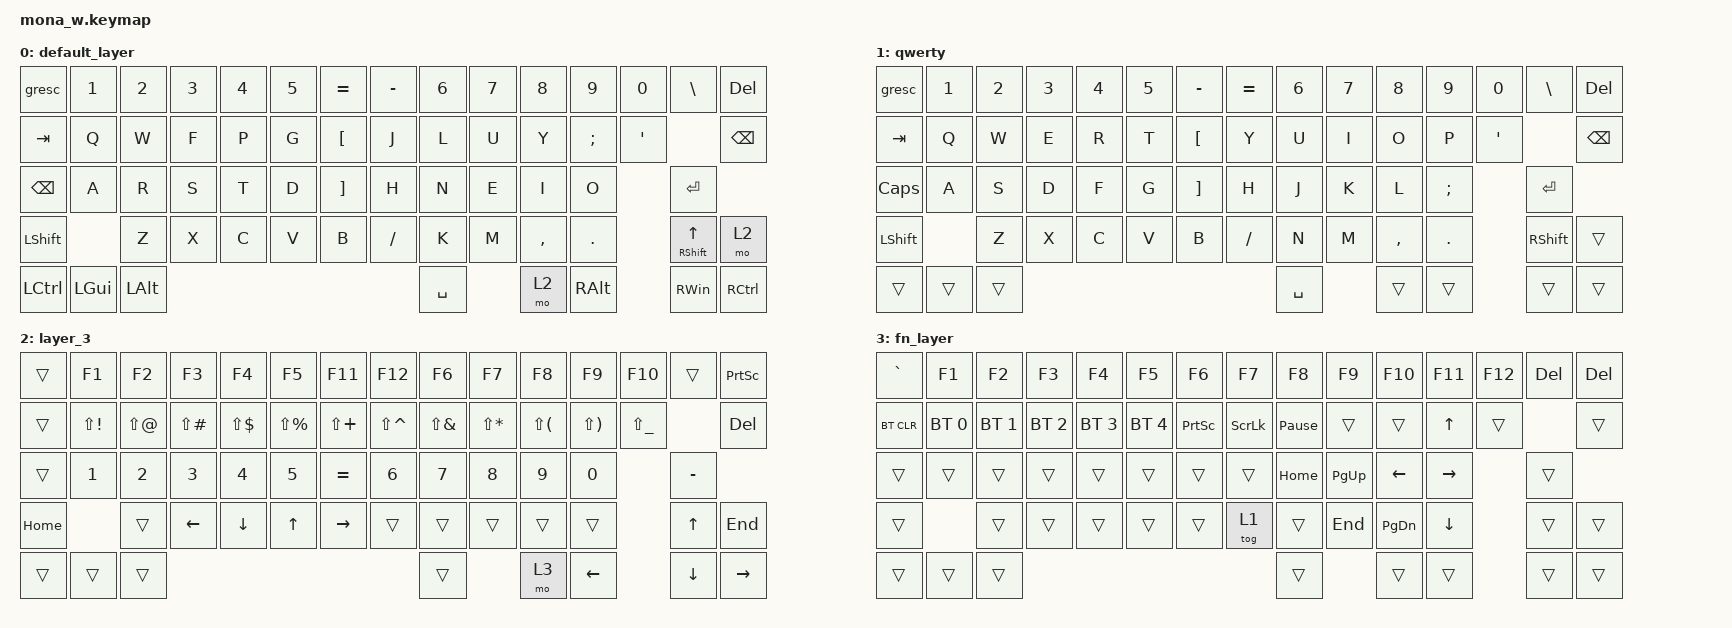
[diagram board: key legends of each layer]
/*
 * Copyright (c) 2023 Ramon Imbao
 *
 * SPDX-License-Identifier: MIT
 */

#include <behaviors.dtsi>
#include <dt-bindings/zmk/bt.h>
#include <dt-bindings/zmk/keys.h>

&gresc { mods = <(MOD_LGUI|MOD_RGUI|MOD_LSFT)>; };

/ {
    keymap {
        compatible = "zmk,keymap";

        default_layer {
            bindings = <
&gresc         &kp N1    &kp N2    &kp N3  &kp N4  &kp N5  &kp EQUAL          &kp MINUS  &kp NUMBER_6  &kp N7  &kp N8     &kp N9         &kp N0   &kp BACKSLASH       &kp DELETE
&kp TAB        &kp Q     &kp W     &kp F   &kp P   &kp G   &kp LEFT_BRACKET   &kp J      &kp L         &kp U   &kp Y      &kp SEMICOLON  &kp SQT                      &kp BACKSPACE
&kp BACKSPACE  &kp A     &kp R     &kp S   &kp T   &kp D   &kp RIGHT_BRACKET  &kp H      &kp N         &kp E   &kp I      &kp O                   &kp ENTER
&kp LSHFT                &kp Z     &kp X   &kp C   &kp V   &kp B              &kp SLASH  &kp K         &kp M   &kp COMMA  &kp PERIOD              &mt RSHFT UP_ARROW  &mo 2
&kp LCTRL      &kp LGUI  &kp LALT                                                        &kp SPACE             &mo 2      &kp RALT                &kp RIGHT_WIN       &kp RCTRL
            >;
        };

        qwerty {
            bindings = <
&gresc     &kp N1  &kp N2  &kp N3  &kp N4  &kp N5  &kp MINUS  &kp EQUAL  &kp N6     &kp N7  &kp N8     &kp N9    &kp N0   &kp BSLH   &kp DELETE
&kp TAB    &kp Q   &kp W   &kp E   &kp R   &kp T   &kp LBKT   &kp Y      &kp U      &kp I   &kp O      &kp P     &kp SQT             &kp BSPC
&kp CAPS   &kp A   &kp S   &kp D   &kp F   &kp G   &kp RBKT   &kp H      &kp J      &kp K   &kp L      &kp SEMI           &kp RET
&kp LSHFT          &kp Z   &kp X   &kp C   &kp V   &kp B      &kp FSLH   &kp N      &kp M   &kp COMMA  &kp DOT            &kp RSHFT  &trans
&trans     &trans  &trans                                                &kp SPACE          &trans     &trans             &trans     &trans
            >;
        };

        layer_3 {
            bindings = <
&trans    &kp F1        &kp F2      &kp F3         &kp F4        &kp F5         &kp F11       &kp F12        &kp F6        &kp F7        &kp F8        &kp F9        &kp F10        &trans     &kp PRINTSCREEN
&trans    &kp LS(EXCL)  &kp LS(AT)  &kp LS(POUND)  &kp LS(DLLR)  &kp LS(PRCNT)  &kp LS(PLUS)  &kp LS(CARET)  &kp LS(AMPS)  &kp LS(STAR)  &kp LS(LPAR)  &kp LS(RPAR)  &kp LS(UNDER)             &kp DEL
&trans    &kp N1        &kp N2      &kp N3         &kp N4        &kp N5         &kp EQUAL     &kp N6         &kp N7        &kp N8        &kp N9        &kp N0                       &kp MINUS
&kp HOME                &trans      &kp LEFT       &kp DOWN      &kp UP         &kp RIGHT     &trans         &trans        &trans        &trans        &trans                       &kp UP     &kp END
&trans    &trans        &trans                                                                               &trans                      &mo 3         &kp LEFT                     &kp DOWN   &kp RIGHT
            >;
        };

        fn_layer {
            bindings = <
&kp GRAVE   &kp F1        &kp F2        &kp F3        &kp F4        &kp F5        &kp F6     &kp F7    &kp F8           &kp F9     &kp F10    &kp F11    &kp F12  &kp DELETE  &kp DELETE
&bt BT_CLR  &bt BT_SEL 0  &bt BT_SEL 1  &bt BT_SEL 2  &bt BT_SEL 3  &bt BT_SEL 4  &kp PSCRN  &kp SLCK  &kp PAUSE_BREAK  &trans     &trans     &kp UP     &trans               &trans
&trans      &trans        &trans        &trans        &trans        &trans        &trans     &trans    &kp HOME         &kp PG_UP  &kp LEFT   &kp RIGHT           &trans
&trans                    &trans        &trans        &trans        &trans        &trans     &tog 1    &trans           &kp END    &kp PG_DN  &kp DOWN            &trans      &trans
&trans      &trans        &trans                                                                       &trans                      &trans     &trans              &trans      &trans
            >;
        };
    };
};
